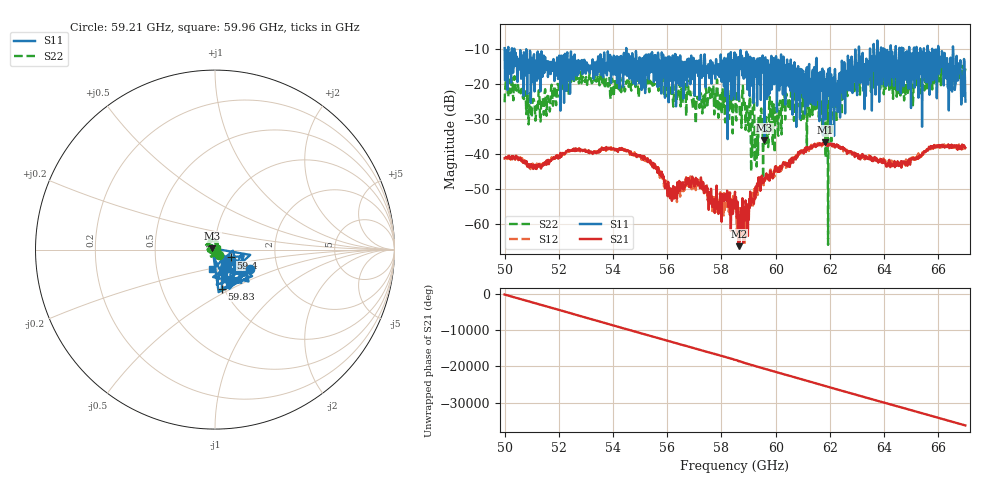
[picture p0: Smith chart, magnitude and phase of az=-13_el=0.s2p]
!Created with skrf (http://scikit-rf.org).
# GHz S RI R 50.0
!freq ReS11 ImS11 ReS21 ImS21 ReS12 ImS12 ReS22 ImS22
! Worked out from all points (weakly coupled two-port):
!   1001 points, 50 GHz to 67 GHz, reference 50 ohm
!   highest |S21| = -36.65 dB at 61.81 GHz (marker M1); lowest = -66.3 dB at 58.64 GHz (marker M2)
!   lowest |S11| = -36.0 dB at 59.59 GHz (marker M3), VSWR 1.03, Z = 48.6 + j0.687 ohm
!   |S11| at or under -10 dB: 50.8 GHz to 54.49 GHz (3.688 GHz wide, 7 % of centre); 54.49 GHz to 63.07 GHz (8.581 GHz wide, 14.6 % of centre); 66.01 GHz to 66.54 GHz (530.5 MHz wide, 0.801 % of centre) (the widest 3 of 27)
!   |S22| runs from -66.0 to -13.9 dB; largest |S21 - S12| = 0.0022
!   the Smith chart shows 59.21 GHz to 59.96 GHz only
!   S11 on the Smith chart (normalised r, x): 59.21 GHz: 1.43, -0.32; 59.4 GHz: 1.19, -0.10; 59.83 GHz: 0.98, -0.45; 59.96 GHz: 0.95, -0.21
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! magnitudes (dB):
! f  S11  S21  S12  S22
! 50 GHz  -9.7  -41.2  -40.9  -25.2
! 51.38 GHz  -16.3  -43.5  -43.3  -24.7
! 52.84 GHz  -13.8  -38.7  -39.1  -19.7
! 55.68 GHz  -13.5  -44.2  -45.0  -21.9
! 56.19 GHz  -22.6  -52.8  -51.7  -21.0
! 57 GHz  -23.2  -49.3  -48.1  -22.1
! 58.5 GHz  -24.2  -50.8  -56.1  -24.0
! 58.64 GHz  -24.5  -66.3  -56.6  -22.3
! 58.84 GHz  -12.5  -58.9  -56.5  -25.7
! 59.21 GHz  -13.1  -52.5  -49.7  -28.8
! 59.4 GHz  -20.0  -48.8  -49.1  -29.5
! 59.59 GHz  -36.0  -47.7  -46.9  -30.6
! 59.83 GHz  -13.1  -45.0  -46.7  -30.7
! 59.96 GHz  -19.2  -44.6  -44.6  -39.6
! 60.64 GHz  -14.6  -42.5  -41.3  -22.4
! 61.34 GHz  -25.3  -38.4  -38.4  -26.0
! 61.81 GHz  -18.6  -36.7  -37.0  -26.2
! 62 GHz  -15.4  -37.0  -37.2  -24.9
! 62.6 GHz  -19.4  -39.0  -38.3  -19.2
! 64.18 GHz  -17.6  -41.8  -41.8  -18.9
! 66.08 GHz  -15.0  -37.5  -37.2  -15.5
! 67 GHz  -25.0  -38.2  -37.9  -15.5
